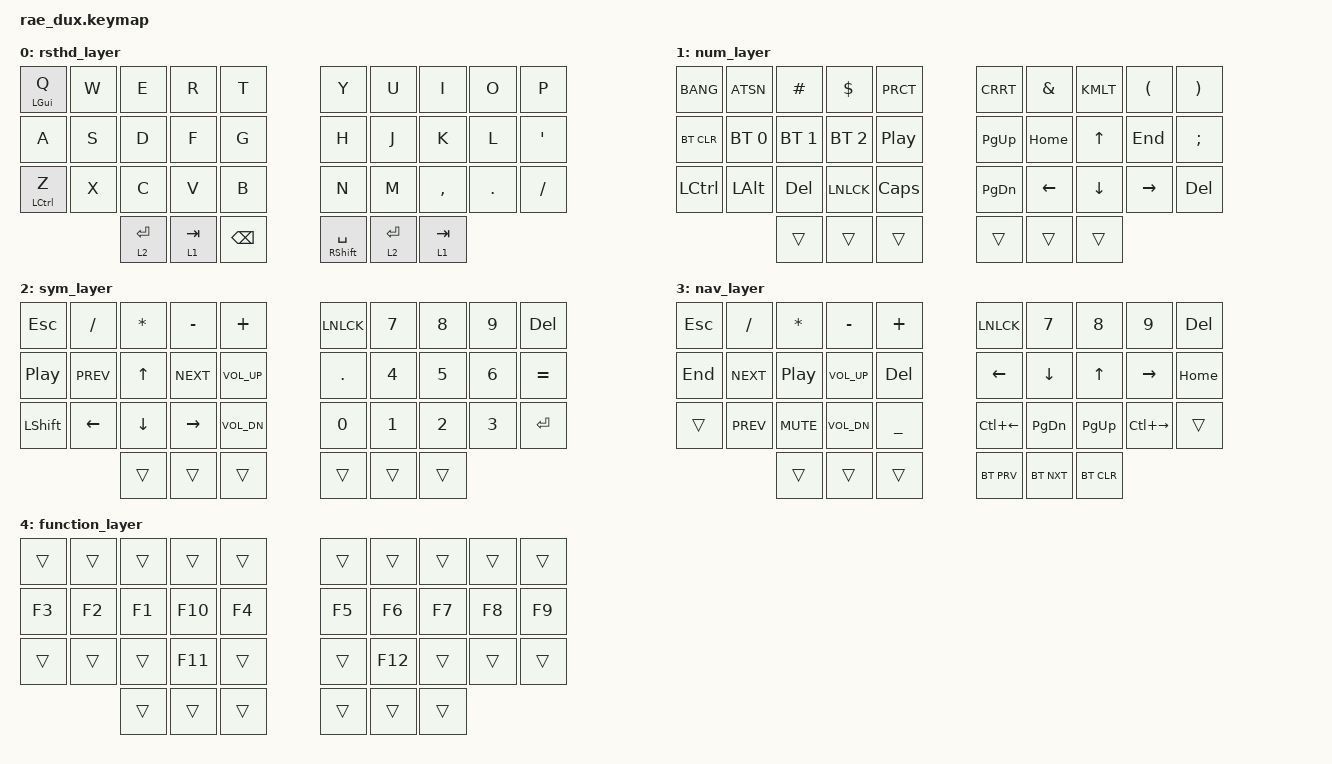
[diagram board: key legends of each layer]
/*
 * Copyright (c) 2021 The ZMK Contributors
 *
 * SPDX-License-Identifier: MIT
 */

#include <behaviors.dtsi>
#include <dt-bindings/zmk/bt.h>
#include <dt-bindings/zmk/keys.h>

&sk {
    release-after-ms = <750>;
    quick-release;
};

&caps_word {
    continue-list = <UNDERSCORE MINUS BSPC>;
};

#define RSTHD_L 0
#define NUM_L   1
#define SYM_L   2
#define NAV_L   3
#define FUN_L   4

#define MY_PSCRN LS(LC(PSCRN))
#define MY_COPY LC(INSERT)
#define MY_PASTE LS(INSERT)
#define VI_U LC(Z)
#define VI_W LC(RIGHT)
#define VI_B LC(LEFT)

/ {
    combos {
        compatible = "zmk,combos";

    // shortcut
    #define COMBO(NAME, BINDINGS, KEYPOS, TIMEOUT) \
          combo_##NAME { \
            timeout-ms = <TIMEOUT>; \
            bindings = <BINDINGS>; \
            key-positions = <KEYPOS>; \
          };

        /*                KEY POSITIONS

          ╭────────────────────╮ ╭────────────────────╮
          │  0   1   2   3   4 │ │  5   6   7   8   9 │
          │ 10  11  12  13  14 │ │ 15  16  17  18  19 │
          │ 20  21  22  23  24 │ │ 25  26  27  28  29 │
          ╰───────╮ 30  31  32 │ │ 33  34  35 ╭───────╯
                  ╰────────────╯ ╰────────────╯        */

        COMBO(caps_word_right, &caps_word, 26 27, 60)
        COMBO(caps_word_left, &caps_word, 22 23, 60)

        COMBO(colon, &kp COLON, 7 8, 60)
        COMBO(semicolon, &kp SEMI, 27 28, 60)
        COMBO(slash, &kp FSLH, 1 2, 60)

        COMBO(minus, &kp MINUS, 31 32, 100)
        COMBO(underscore, &kp UNDER, 33 34, 100)

        COMBO(equal, &kp EQUAL, 12 23, 100)
        COMBO(enter, &kp ENTER, 17 26, 60)

        COMBO(reset_left, &bootloader, 0 1 2 3, 100)
        // COMBO(reset_right, &bootloader, 6 7 8 9, 100)
    };

    behaviors {
        lhm: left_hand_positional_hold_tap {
            compatible = "zmk,behavior-hold-tap";
            label = "LEFT_POSITIONAL_HOLD_TAP";
            #binding-cells = <2>;
            flavor = "tap-preferred";
            tapping-term-ms = <200>;
            quick-tap-ms = <125>;
            global-quick-tap;
            bindings = <&kp>, <&kp>;
            // hold-trigger-key-positions = <5 6 7 8 9 15 16 17 18 19 25 26 27 28 29 30 31 32 33 34 35>;
            hold-trigger-key-positions = <5 6 7 8 9 10 11 12 13 15 16 17 18 19 25 26 27 28 29 30 31 32 33 34 35>;
        };

        rhm: right_hand_positional_hold_tap {
            compatible = "zmk,behavior-hold-tap";
            label = "RIGHT_POSITIONAL_HOLD_TAP";
            #binding-cells = <2>;
            flavor = "tap-preferred";
            tapping-term-ms = <200>;
            quick-tap-ms = <125>;
            global-quick-tap;
            bindings = <&kp>, <&kp>;
            // hold-trigger-key-positions = <0 1 2 3 4 10 11 12 13 14 20 21 22 23 24 30 31 32 33 34 35>;
            hold-trigger-key-positions = <0 1 2 3 4 10 11 12 13 14 16 17 18 19 20 21 22 23 24 30 31 32 33 34 35>;
        };

        base_lt: base_layer_hold_tap {
            compatible = "zmk,behavior-hold-tap";
            label = "BASE_LAYER_HOLD_TAP";
            #binding-cells = <2>;
            flavor = "tap-preferred";
            tapping-term-ms = <200>;
            quick-tap-ms = <50>;
            global-quick-tap;
            bindings = <&mo>, <&kp>;
        };

    };

	keymap {
		compatible = "zmk,keymap";

        // RSTHD
		rsthd_layer {
			bindings = <
                   &mt LGUI Q        &kp W         &kp E         &kp R              &kp T              &kp Y               &kp U            &kp I                 &kp O         &kp P
                   &kp A  &kp S  &kp D  &kp F        &kp G              &kp H               &kp J      &kp K             &kp L  &kp SQT
                   &mt LCTRL Z  &kp X         &kp C         &kp V              &kp B              &kp N               &kp M            &kp COMMA                &kp DOT   &kp FSLH
				 /*&            &*/           &lt 2 RET       &lt 1 TAB &kp BKSP &mt RSHFT SPC &lt 2 RET &lt 1 TAB    /* &             &*/
			>;
		};

		num_layer {
			bindings = <
                   &kp BANG       &kp ATSN        &kp HASH     &kp DLLR             &kp PRCT             &kp CRRT              &kp AMPS           &kp KMLT                &kp LPRN        &kp RPRN
                   &bt BT_CLR &bt BT_SEL 0 &bt BT_SEL 1 &bt BT_SEL 2       &kp C_PP             &kp PG_UP     &kp HOME &kp UP        &kp END &kp SEMI
                   &kp LCTRL     &kp LALT      &kp DEL     &kp LNLCK           &kp CAPS             &kp PG_DN              &kp LEFT           &kp DOWN                &kp RIGHT       &kp DEL
				 /*&            &*/           &trans        &trans             &trans             &trans              &trans           &trans    /*             &             &*/
			>;
		};

		sym_layer {
			bindings = <
                   &kp ESC       &kp FSLH      &kp STAR        &kp MINUS           &kp PLUS             &kp LNLCK              &kp NUM_7        &kp NUM_8                &kp NUM_9      &kp DEL
                   &kp C_PP     &kp C_PREV        &kp UP     &kp C_NEXT             &kp C_VOL_UP          &kp DOT            &kp NUM_4         &kp NUM_5                 &kp NUM_6      &kp EQL
                   &kp LSHFT     &kp LEFT      &kp DOWN     &kp RIGHT           &kp C_VOL_DN          &kp NUM_0           &kp NUM_1         &kp NUM_2                 &kp NUM_3      &kp RET
				 /*&            &*/           &trans        &trans             &trans             &trans              &trans           &trans    /*             &             &*/
			>;
		};

		nav_layer {
			bindings = <
                   &kp ESC       &kp FSLH     &kp STAR   &kp MINUS       &kp PLUS       &kp LNLCK              &kp NUM_7    &kp NUM_8            &kp NUM_9      &kp DEL
                   &kp END      &kp C_NEXT    &kp C_PP      &kp C_VOL_UP       &kp DEL            &kp LEFT            &kp DOWN         &kp UP                   &kp RIGHT     &kp HOME
                   &trans       &kp C_PREV    &kp C_MUTE    &kp C_VOL_DN       &kp UNDER          &kp VI_B            &kp PG_DN        &kp PG_UP                &kp VI_W      &trans
				 /*&            &*/           &trans        &trans             &trans             &bt BT_PRV          &bt BT_NXT       &bt BT_CLR /*            &             &*/
			>;
		};

		function_layer {
			bindings = <
                   &trans       &trans        &trans        &trans             &trans             &trans              &trans           &trans                   &trans        &trans
                   &kp F3       &kp F2        &kp F1        &kp F10            &kp F4             &kp F5              &kp F6           &kp F7                   &kp F8        &kp F9
                   &trans       &trans        &trans        &kp F11            &trans             &trans              &kp F12          &trans                   &trans        &trans
				 /*&            &*/           &trans        &trans             &trans             &trans              &trans           &trans /*                &             &*/
			>;
		};
	};
};
